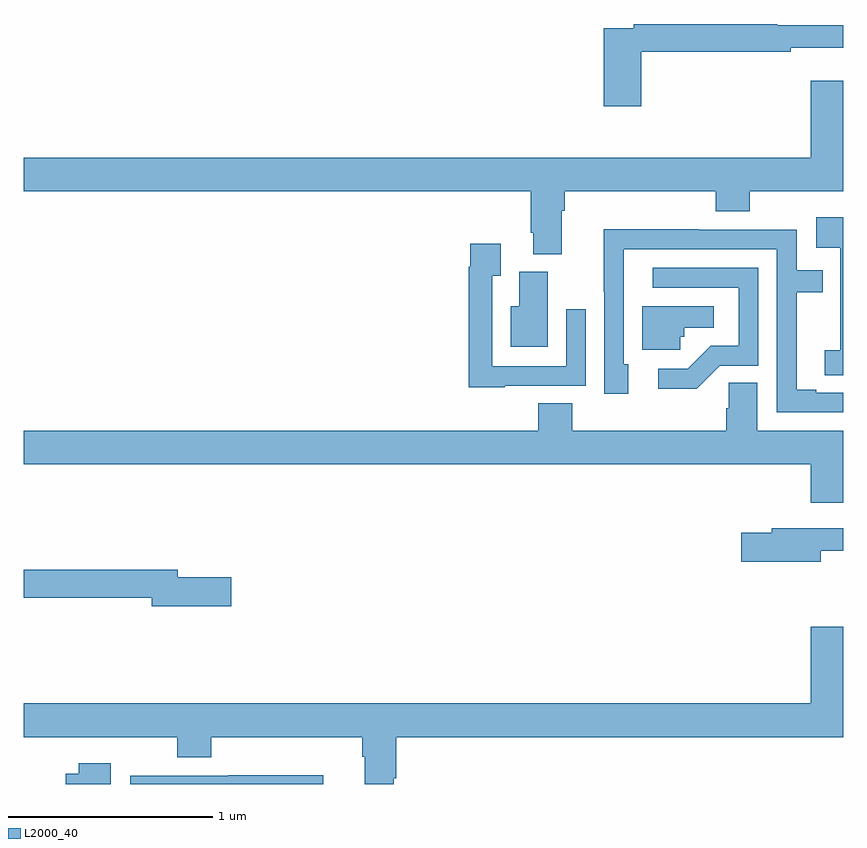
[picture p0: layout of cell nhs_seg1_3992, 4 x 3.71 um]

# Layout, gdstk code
import gdstk
lib = gdstk.Library(unit=1e-6, precision=1e-09)
def P(c, l, *ps):  # polygons
    for p in ps: c.add(gdstk.Polygon(p, *l))
L2000_40 = (2000, 40)

nhs_seg1_3992 = lib.new_cell('nhs_seg1_3992')
P(nhs_seg1_3992, L2000_40, [(332.015,525.772),(332.744,525.772),(332.744,525.791),(333,525.791),(333,525.901),(332.678,525.901),(332.678,525.908),(331.978,525.908),(331.978,525.888),(331.832,525.888),(331.832,525.507),(332.015,525.507)],
  [(331.627,524.996),(331.64,524.996),(331.64,525.092),(332.378,525.092),(332.378,524.993),(332.543,524.993),(332.543,525.092),(333,525.092),(333,525.631),(332.84,525.631),(332.84,525.256),(329,525.256),(329,525.092),(331.475,525.092),(331.475,524.89),(331.487,524.89),(331.487,524.785),(331.627,524.785)],
  [(333,524.965),(332.868,524.965),(332.868,524.817),(332.985,524.817),(332.985,524.513),(332.984,524.513),(332.984,524.316),(332.91,524.316),(332.91,524.194),(333,524.194)],
  [(333,524.109),(332.869,524.109),(332.869,524.124),(332.773,524.124),(332.773,524.598),(332.9,524.598),(332.9,524.706),(332.772,524.706),(332.772,524.904),(332.294,524.904),(332.294,524.906),(331.832,524.906),(331.832,524.602),(331.833,524.602),(331.833,524.103),(331.951,524.103),(331.951,524.247),(331.929,524.247),(331.929,524.808),(332.676,524.808),(332.676,524.013),(333,524.013)],
  [(331.347,524.142),(331.743,524.142),(331.743,524.515),(331.647,524.515),(331.647,524.238),(331.287,524.238),(331.287,524.68),(331.327,524.68),(331.327,524.836),(331.179,524.836),(331.179,524.723),(331.171,524.723),(331.171,524.135),(331.347,524.135)],
  [(332.397,524.241),(332.586,524.241),(332.586,524.718),(332.07,524.718),(332.07,524.622),(332.49,524.622),(332.49,524.337),(332.352,524.337),(332.241,524.226),(332.097,524.226),(332.097,524.129),(332.284,524.129)],
  [(331.558,524.7),(331.418,524.7),(331.418,524.53),(331.376,524.53),(331.376,524.333),(331.558,524.333)],
  [(332.205,524.382),(332.223,524.382),(332.223,524.426),(332.368,524.426),(332.368,524.53),(332.018,524.53),(332.018,524.319),(332.205,524.319)],
  [(333,523.924),(332.581,523.924),(332.581,524.156),(332.442,524.156),(332.442,524.033),(332.429,524.033),(332.429,523.924),(331.676,523.924),(331.676,524.057),(331.511,524.057),(331.511,523.924),(329,523.924),(329,523.76),(332.84,523.76),(332.84,523.572),(333,523.572)],
  [(332.89,523.338),(333,523.338),(333,523.446),(332.651,523.446),(332.651,523.425),(332.502,523.425),(332.502,523.283),(332.89,523.283)],
  [(330.013,523.208),(329.752,523.208),(329.752,523.244),(329,523.244),(329,523.108),(329.624,523.108),(329.624,523.066),(330.013,523.066)],
  [(330.805,522.226),(330.818,522.226),(330.818,522.428),(333,522.428),(333,522.967),(332.84,522.967),(332.84,522.592),(329,522.592),(329,522.428),(329.75,522.428),(329.75,522.329),(329.915,522.329),(329.915,522.428),(330.653,522.428),(330.653,522.332),(330.665,522.332),(330.665,522.199),(330.805,522.199)],
  [(329.425,522.301),(329.269,522.301),(329.269,522.249),(329.206,522.249),(329.206,522.199),(329.425,522.199)],
  [(330.461,522.242),(329.998,522.242),(329.998,522.24),(329.52,522.24),(329.52,522.199),(330.461,522.199)])

lib.write_gds('nhs_seg1_3992.gds')
